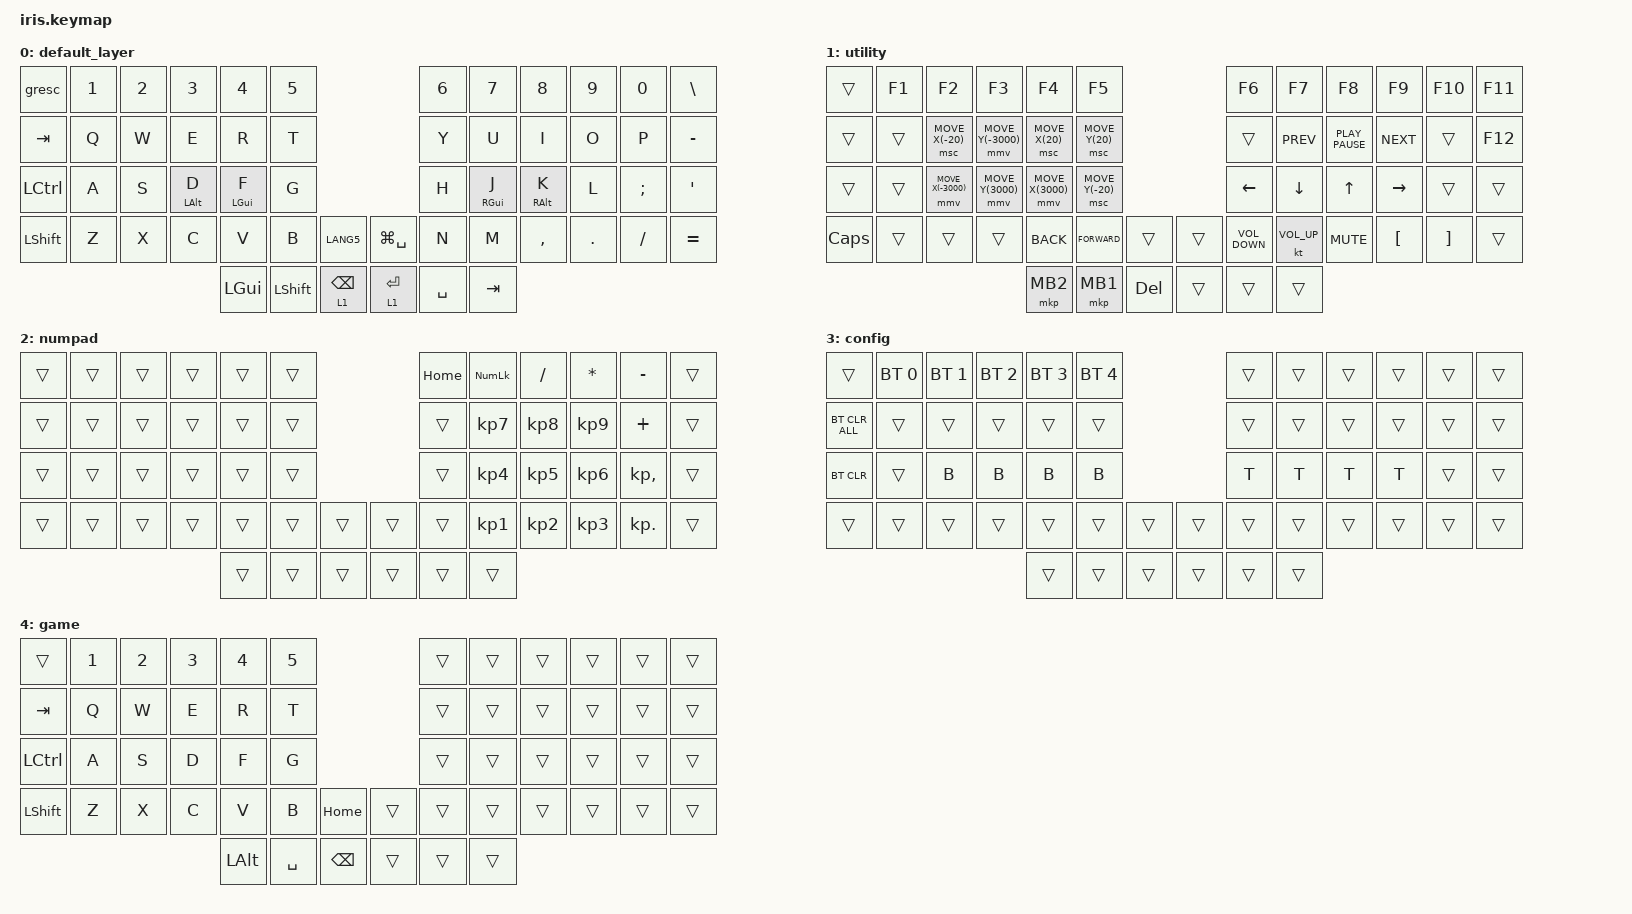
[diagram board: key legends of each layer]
/*
 * Copyright (c) 2020 The ZMK Contributors
 *
 * SPDX-License-Identifier: MIT
 */

#include <behaviors.dtsi>
#include <dt-bindings/zmk/bt.h>
#include <dt-bindings/zmk/keys.h>
#include <dt-bindings/zmk/pointing.h>

/ {
    behaviors {
        hm: hm {
            compatible = "zmk,behavior-hold-tap";
            label = "homerow_mod";
            bindings = <&kp>, <&kp>;

            #binding-cells = <2>;
            tapping-term-ms = <170>;
            quick-tap-ms = <0>;
            flavor = "tap-preferred";
        };

        sticky_key_release: sk_cust {
            compatible = "zmk,behavior-sticky-key";
            label = "STICKY_KEY_RELEASE";
            bindings = <&kp>;
            #binding-cells = <1>;
            release-after-ms = <500>;
        };
    };

    combos {
        compatible = "zmk,combos";

        togLyrConf {
            bindings = <&tog 3>;
            key-positions = <0 52 53 11>;
        };

        tonumpad {
            bindings = <&tog 2>;
            key-positions = <11 53>;
        };

        togame {
            bindings = <&tog 4>;
            key-positions = <0 52>;
        };
    };

    keymap {
        compatible = "zmk,keymap";

        default_layer {
            // ------------------------------------------------------------------------------------------------------------
            // |  ESC  |  1  |  2  |  3   |  4   |  5   |                   |  6   |  7    |  8    |  9   |   0   |   `   |
            // |  TAB  |  Q  |  W  |  E   |  R   |  T   |                   |  Y   |  U    |  I    |  O   |   P   |   -   |
            // |  CTRL |  A  |  S  |  D   |  F   |  G   |                   |  H   |  J    |  K    |  L   |   ;   |   '   |
            // | SHIFT |  Z  |  X  |  C   |  V   |  B   |   "["  |  |  "]"  |  N   |  M    |  ,    |  .   |   /   | SHIFT |
            //                            | GUI  | LOWER|  SPACE |  | ENTER | RAISE|  ALT  |

            bindings = <
&gresc     &kp N1  &kp N2  &kp N3          &kp N4          &kp N5                                          &kp N6     &kp N7           &kp N8           &kp N9   &kp N0    &kp BACKSLASH
&kp TAB    &kp Q   &kp W   &kp E           &kp R           &kp T                                           &kp Y      &kp U            &kp I            &kp O    &kp P     &kp MINUS
&kp LCTRL  &kp A   &kp S   &hm LEFT_ALT D  &hm LEFT_GUI F  &kp G                                           &kp H      &hm RIGHT_GUI J  &hm RIGHT_ALT K  &kp L    &kp SEMI  &kp SQT
&kp LSHFT  &kp Z   &kp X   &kp C           &kp V           &kp B           &kp LANG5        &kp LG(SPACE)  &kp N      &kp M            &kp COMMA        &kp DOT  &kp FSLH  &kp EQUAL
                                           &kp LGUI        &kp LEFT_SHIFT  &lt 1 BACKSPACE  &lt 1 ENTER    &kp SPACE  &kp TAB
            >;
        };

        utility {
            bindings = <
&trans    &kp F1  &kp F2              &kp F3              &kp F4             &kp F5                             &kp F6             &kp F7           &kp F8            &kp F9      &kp F10   &kp F11
&trans    &trans  &msc MOVE_X(-20)    &mmv MOVE_Y(-3000)  &msc MOVE_X(20)    &msc MOVE_Y(20)                    &trans             &kp K_PREV       &kp K_PLAY_PAUSE  &kp K_NEXT  &trans    &kp F12
&trans    &trans  &mmv MOVE_X(-3000)  &mmv MOVE_Y(3000)   &mmv MOVE_X(3000)  &msc MOVE_Y(-20)                   &kp LEFT           &kp DOWN         &kp UP            &kp RIGHT   &trans    &trans
&kp CAPS  &trans  &trans              &trans              &kp K_BACK         &kp K_FORWARD     &trans   &trans  &kp C_VOLUME_DOWN  &kt C_VOLUME_UP  &kp K_MUTE        &kp LBKT    &kp RBKT  &trans
                                                          &mkp MB2           &mkp MB1          &kp DEL  &trans  &trans             &trans
            >;
        };

        numpad {
            bindings = <
&trans  &trans  &trans  &trans  &trans  &trans                  &kp HOME  &kp KP_NUMLOCK   &kp SLASH  &kp ASTERISK     &kp MINUS     &trans
&trans  &trans  &trans  &trans  &trans  &trans                  &trans    &kp KP_N7        &kp KP_N8  &kp KP_N9        &kp PLUS      &trans
&trans  &trans  &trans  &trans  &trans  &trans                  &trans    &kp KP_NUMBER_4  &kp KP_N5  &kp KP_N6        &kp KP_COMMA  &trans
&trans  &trans  &trans  &trans  &trans  &trans  &trans  &trans  &trans    &kp KP_N1        &kp KP_N2  &kp KP_NUMBER_3  &kp KP_DOT    &trans
                                &trans  &trans  &trans  &trans  &trans    &trans
            >;
        };

        config {
            bindings = <
&trans          &bt BT_SEL 0  &bt BT_SEL 1  &bt BT_SEL 2  &bt BT_SEL 3  &bt BT_SEL 4                  &trans  &trans  &trans  &trans  &trans  &trans
&bt BT_CLR_ALL  &trans        &trans        &trans        &trans        &trans                        &trans  &trans  &trans  &trans  &trans  &trans
&bt BT_CLR      &trans        &kp B         &kp B         &kp B         &kp B                         &kp T   &kp T   &kp T   &kp T   &trans  &trans
&trans          &trans        &trans        &trans        &trans        &trans        &trans  &trans  &trans  &trans  &trans  &trans  &trans  &trans
                                                          &trans        &trans        &trans  &trans  &trans  &trans
            >;
        };

        game {
            bindings = <
&trans     &kp N1  &kp N2  &kp N3  &kp N4    &kp N5                       &trans  &trans  &trans  &trans  &trans  &trans
&kp TAB    &kp Q   &kp W   &kp E   &kp R     &kp T                        &trans  &trans  &trans  &trans  &trans  &trans
&kp LCTRL  &kp A   &kp S   &kp D   &kp F     &kp G                        &trans  &trans  &trans  &trans  &trans  &trans
&kp LSHFT  &kp Z   &kp X   &kp C   &kp V     &kp B      &kp HOME  &trans  &trans  &trans  &trans  &trans  &trans  &trans
                                   &kp LALT  &kp SPACE  &kp BSPC  &trans  &trans  &trans
            >;
        };
    };
};
